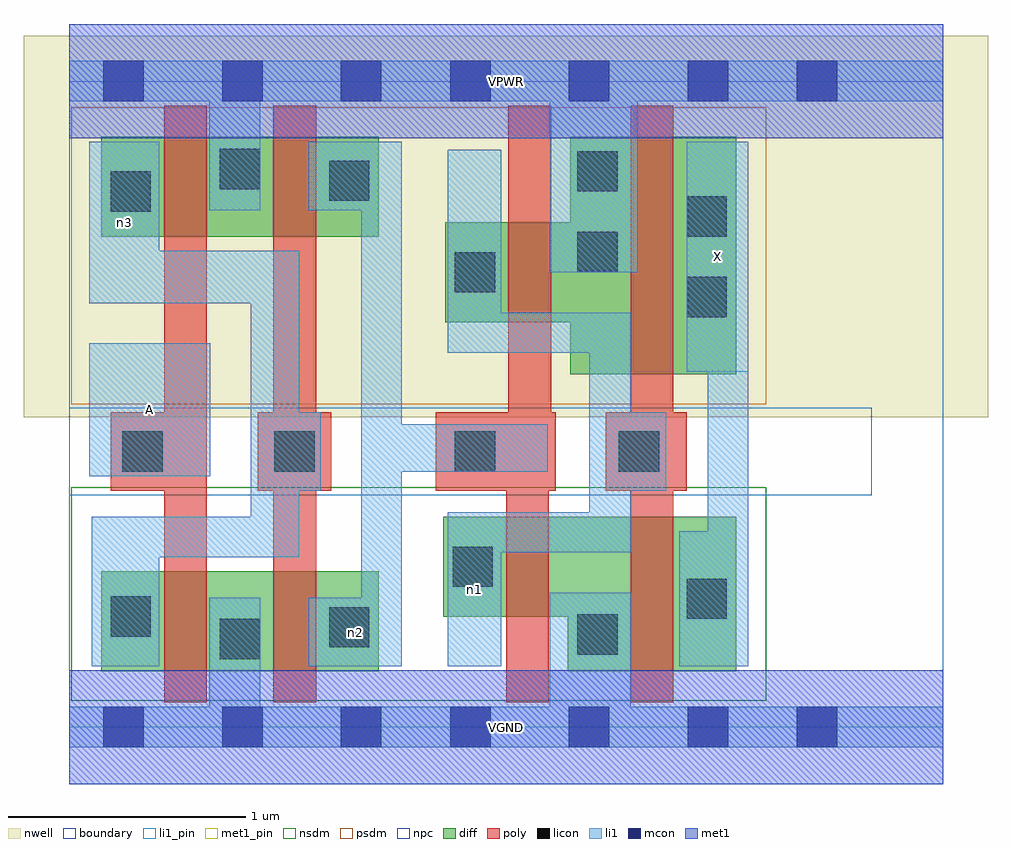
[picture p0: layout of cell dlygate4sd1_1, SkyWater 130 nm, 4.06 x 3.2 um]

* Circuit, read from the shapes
.subckt dlygate4sd1_1 A VGND VPWR X n1 n2 n3
XM1 VGND A n3 VSUBS sky130_fd_pr__nfet_01v8 w=0.42 l=0.18
XM2 n2 n3 VGND VSUBS sky130_fd_pr__nfet_01v8 w=0.42 l=0.18
XM3 VGND n2 n1 VSUBS sky130_fd_pr__nfet_01v8 w=0.42 l=0.18
XM4 X n1 VGND VSUBS sky130_fd_pr__nfet_01v8 w=0.65 l=0.18
XM5 VPWR A n3 n4 sky130_fd_pr__pfet_01v8 w=0.42 l=0.18
XM6 n2 n3 VPWR n4 sky130_fd_pr__pfet_01v8 w=0.42 l=0.18
XM7 VPWR n2 n1 n4 sky130_fd_pr__pfet_01v8 w=0.42 l=0.18
XM8 X n1 VPWR n4 sky130_fd_pr__pfet_01v8 w=1 l=0.18
.ends

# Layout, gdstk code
import gdstk
lib = gdstk.Library(unit=1e-6, precision=1e-09)
def R(c, l, rs):  # rectangles x0, y0, x1, y1
    for r in rs: c.add(gdstk.rectangle(r[:2], r[2:], *l))
def A(c, l, x, y, w, h, nx, ny, dx, dy):  # array of equal rectangles
    R(c, l, [(x+i*dx, y+j*dy, x+i*dx+w, y+j*dy+h) for i in range(nx) for j in range(ny)])
nwell = (64, 20)
diff = (65, 20)
poly = (66, 20)
licon = (66, 44)
li1_pin = (67, 16)
li1 = (67, 20)
mcon = (67, 44)
met1_pin = (68, 16)
met1 = (68, 20)
nsdm = (93, 44)
psdm = (94, 20)
npc = (95, 20)
boundary = (235, 4)

dlygate4sd1_1 = lib.new_cell('dlygate4sd1_1')
R(dlygate4sd1_1, nwell, [(-0.19,1.305,3.87,2.91), (0,1.305,3.68,2.91)])
R(dlygate4sd1_1, diff, [(0.135,0.235,1.305,0.655), (2.1,0.235,2.81,0.885), (1.575,0.465,2.81,0.885), (2.11,1.485,2.81,2.485), (1.585,1.705,2.81,2.125), (0.135,2.065,1.305,2.485)])
R(dlygate4sd1_1, poly, [(0.4,0.105,0.58,2.615), (0.86,0.105,1.04,2.615), (1.84,0.105,2.02,1.325), (2.365,0.105,2.545,2.615), (0.175,0.995,0.58,1.325), (0.795,0.995,1.105,1.325), (1.545,0.995,2.05,1.325), (1.85,0.995,2.03,2.615), (2.26,0.995,2.6,1.325)])
R(dlygate4sd1_1, licon, [(0.635,0.285,0.805,0.455), (2.14,0.305,2.31,0.475), (1.095,0.335,1.265,0.505), (0.175,0.38,0.345,0.55), (2.6,0.455,2.77,0.625), (1.615,0.59,1.785,0.76), (0.225,1.075,0.395,1.245), (0.865,1.075,1.035,1.245), (1.625,1.075,1.795,1.245), (2.315,1.075,2.485,1.245), (2.6,1.725,2.77,1.895), (1.625,1.83,1.795,2), (2.14,1.915,2.31,2.085), (2.6,2.065,2.77,2.235), (0.175,2.17,0.345,2.34), (1.095,2.215,1.265,2.385), (2.14,2.255,2.31,2.425), (0.635,2.265,0.805,2.435)])
R(dlygate4sd1_1, li1_pin, [(0.085,1.055,0.595,1.615), (2.6,1.495,2.86,2.465)])
R(dlygate4sd1_1, li1, [(0,-0.085,3.68,0.085), (0.59,-0.085,0.805,0.545), (2.025,-0.085,2.365,0.565), (0.095,0.255,0.38,0.885), (1.01,0.255,1.4,0.545), (1.23,0.255,1.4,2.465), (1.595,0.255,1.82,0.905), (2.57,0.255,2.86,0.825), (2.69,0.255,2.86,2.465), (0.095,0.715,0.97,0.885), (0.765,0.715,0.97,2.005), (1.595,0.735,2.365,0.905), (2.19,0.735,2.365,1.745), (0.765,0.995,1.06,1.325), (2.19,0.995,2.515,1.325), (0.085,1.055,0.595,1.615), (1.23,1.075,2.015,1.275), (2.6,1.495,2.86,2.465), (1.595,1.575,2.365,1.745), (1.595,1.575,1.82,2.43), (0.085,1.785,0.38,2.465), (0.085,1.785,0.97,2.005), (2.025,1.915,2.395,2.805), (0.59,2.175,0.805,2.805), (1.01,2.175,1.4,2.465), (0,2.635,3.68,2.805)])
A(dlygate4sd1_1, mcon, 0.145, -0.085, 0.17, 0.17, 3, 2, 0.5, 2.72)
A(dlygate4sd1_1, mcon, 1.605, -0.085, 0.17, 0.17, 3, 2, 0.5, 2.72)
R(dlygate4sd1_1, mcon, [(3.065,-0.085,3.235,0.085), (3.065,2.635,3.235,2.805)])
R(dlygate4sd1_1, met1_pin, [(0,-0.24,3.68,0.24), (0,2.48,3.68,2.96)])
R(dlygate4sd1_1, met1, [(0,-0.24,3.68,0.24), (0,2.48,3.68,2.96)])
R(dlygate4sd1_1, nsdm, [(0.01,0.11,2.935,1.01)])
R(dlygate4sd1_1, psdm, [(0.01,1.36,2.935,2.61)])
R(dlygate4sd1_1, npc, [(0,0.975,3.38,1.345)])
R(dlygate4sd1_1, boundary, [(0,0,3.68,2.72)])
dlygate4sd1_1.add(gdstk.Label('A', (0.34,1.335), layer=67, texttype=5))
dlygate4sd1_1.add(gdstk.Label('X', (2.73,1.98), layer=67, texttype=5))
dlygate4sd1_1.add(gdstk.Label('n1', (1.707,0.58), layer=67, texttype=5))
dlygate4sd1_1.add(gdstk.Label('n3', (0.232,2.125), layer=67, texttype=5))
dlygate4sd1_1.add(gdstk.Label('n2', (1.205,0.4), layer=67, texttype=5))
dlygate4sd1_1.add(gdstk.Label('VPWR', (1.84,2.72), layer=68, texttype=5))
dlygate4sd1_1.add(gdstk.Label('VGND', (1.84,0), layer=68, texttype=5))
dlygate4sd1_1.add(gdstk.Label('A', (0.34,1.335), layer=67, texttype=16))
dlygate4sd1_1.add(gdstk.Label('X', (2.73,1.98), layer=67, texttype=16))
dlygate4sd1_1.add(gdstk.Label('VPWR', (1.84,2.72), layer=68, texttype=16))
dlygate4sd1_1.add(gdstk.Label('VGND', (1.84,0), layer=68, texttype=16))

lib.write_gds('dlygate4sd1_1.gds')
